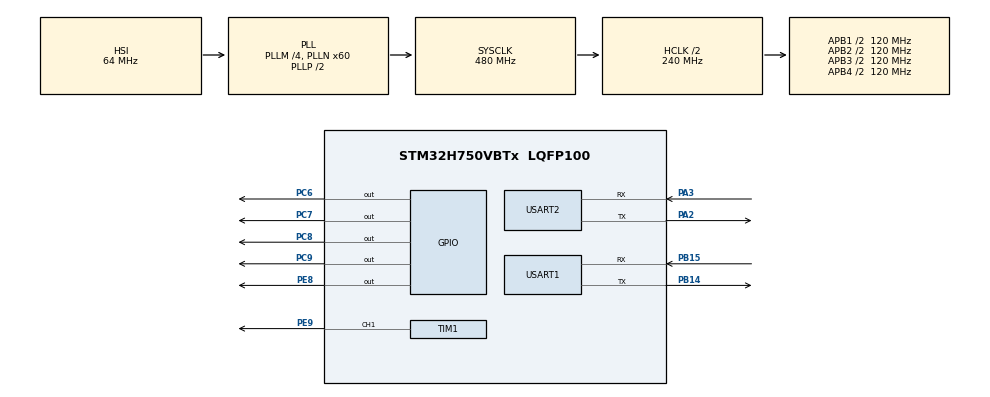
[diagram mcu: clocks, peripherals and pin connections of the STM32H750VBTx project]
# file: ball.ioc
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CORTEX_M7.default_mode_Activation=1
Dma.Request0=USART1_RX
Dma.Request1=USART2_RX
Dma.USART1_RX.0.Direction=DMA_PERIPH_TO_MEMORY
Dma.USART1_RX.0.EventEnable=DISABLE
Dma.USART1_RX.0.FIFOMode=DMA_FIFOMODE_DISABLE
Dma.USART1_RX.0.Instance=DMA1_Stream0
Dma.USART1_RX.0.MemDataAlignment=DMA_MDATAALIGN_BYTE
Dma.USART1_RX.0.MemInc=DMA_MINC_ENABLE
Dma.USART1_RX.0.Mode=DMA_CIRCULAR
Dma.USART1_RX.0.PeriphDataAlignment=DMA_PDATAALIGN_BYTE
Dma.USART1_RX.0.PeriphInc=DMA_PINC_DISABLE
Dma.USART1_RX.0.Polarity=HAL_DMAMUX_REQ_GEN_RISING
Dma.USART1_RX.0.Priority=DMA_PRIORITY_LOW
Dma.USART1_RX.0.RequestNumber=1
Dma.USART1_RX.0.SignalID=NONE
Dma.USART1_RX.0.SyncEnable=DISABLE
Dma.USART1_RX.0.SyncPolarity=HAL_DMAMUX_SYNC_NO_EVENT
Dma.USART1_RX.0.SyncRequestNumber=1
Dma.USART1_RX.0.SyncSignalID=NONE
Dma.USART2_RX.1.Direction=DMA_PERIPH_TO_MEMORY
Dma.USART2_RX.1.EventEnable=DISABLE
Dma.USART2_RX.1.FIFOMode=DMA_FIFOMODE_DISABLE
Dma.USART2_RX.1.Instance=DMA1_Stream1
Dma.USART2_RX.1.MemDataAlignment=DMA_MDATAALIGN_BYTE
Dma.USART2_RX.1.MemInc=DMA_MINC_ENABLE
Dma.USART2_RX.1.Mode=DMA_CIRCULAR
Dma.USART2_RX.1.PeriphDataAlignment=DMA_PDATAALIGN_BYTE
Dma.USART2_RX.1.PeriphInc=DMA_PINC_DISABLE
Dma.USART2_RX.1.Polarity=HAL_DMAMUX_REQ_GEN_RISING
Dma.USART2_RX.1.Priority=DMA_PRIORITY_LOW
Dma.USART2_RX.1.RequestNumber=1
Dma.USART2_RX.1.SignalID=NONE
Dma.USART2_RX.1.SyncEnable=DISABLE
Dma.USART2_RX.1.SyncPolarity=HAL_DMAMUX_SYNC_NO_EVENT
Dma.USART2_RX.1.SyncRequestNumber=1
Dma.USART2_RX.1.SyncSignalID=NONE
Mcu.Family=STM32H7
Mcu.Name=STM32H750VBTx
Mcu.Package=LQFP100
NVIC.DMA1_Stream0_IRQn=true\:0\:0\:false\:false\:true\:false\:true\:true
NVIC.DMA1_Stream1_IRQn=true\:0\:0\:false\:false\:true\:false\:true\:true
NVIC.PriorityGroup=NVIC_PRIORITYGROUP_4
PA13\ (JTMS/SWDIO).Mode=Serial_Wire
PA13\ (JTMS/SWDIO).Signal=DEBUG_JTMS-SWDIO
PA14\ (JTCK/SWCLK).Mode=Serial_Wire
PA14\ (JTCK/SWCLK).Signal=DEBUG_JTCK-SWCLK
PA2.Mode=Asynchronous
PA2.Signal=USART2_TX
PA3.Mode=Asynchronous
PA3.Signal=USART2_RX
PB14.Mode=Asynchronous
PB14.Signal=USART1_TX
PB15.Mode=Asynchronous
PB15.Signal=USART1_RX
PC6.Signal=GPIO_Output
PC7.Signal=GPIO_Output
PC8.Signal=GPIO_Output
PC9.Signal=GPIO_Output
PE8.Signal=GPIO_Output
PE9.Signal=S_TIM1_CH1
ProjectManager.HeapSize=0x200
ProjectManager.StackSize=0x400
ProjectManager.TargetToolchain=MDK-ARM V5.32
RCC.ADCFreq_Value=129000000
RCC.APB1Freq_Value=120000000
RCC.APB2Freq_Value=120000000
RCC.APB3Freq_Value=120000000
RCC.APB4Freq_Value=120000000
RCC.CortexFreq_Value=480000000
RCC.D1PPRE=RCC_APB3_DIV2
RCC.D2PPRE1=RCC_APB1_DIV2
RCC.D2PPRE2=RCC_APB2_DIV2
RCC.D3PPRE=RCC_APB4_DIV2
RCC.DIVM1=4
RCC.DIVN1=60
RCC.HCLKFreq_Value=240000000
RCC.HPRE=RCC_HCLK_DIV2
RCC.PLL2FRACN=0
RCC.PLL3FRACN=0
RCC.PLLFRACN=0
RCC.SYSCLKFreq_VALUE=480000000
RCC.SYSCLKSource=RCC_SYSCLKSOURCE_PLLCLK
RCC.USBFreq_Value=480000000
SH.S_TIM1_CH1.0=TIM1_CH1,PWM Generation1 CH1
TIM1.AutoReloadPreload=TIM_AUTORELOAD_PRELOAD_ENABLE
TIM1.Channel-PWM\ Generation1\ CH1=TIM_CHANNEL_1
TIM1.Period=20000-1
TIM1.Prescaler=240-1
TIM1.Pulse-PWM\ Generation1\ CH1=1500
USART1.VirtualMode-Asynchronous=VM_ASYNC
USART2.VirtualMode-Asynchronous=VM_ASYNC
VP_MEMORYMAP_VS_MEMORYMAP.Mode=CurAppReg
VP_TIM1_VS_ClockSourceINT.Mode=Internal
board=custom

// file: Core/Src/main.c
/* USER CODE BEGIN Header */
/**
 ******************************************************************************
 * @file           : main.c
 * @brief          : Main program body
 ******************************************************************************
 * @attention
 *
 * Copyright (c) 2025 STMicroelectronics.
 * All rights reserved.
 *
 * This software is licensed under terms that can be found in the LICENSE file
 * in the root directory of this software component.
 * If no LICENSE file comes with this software, it is provided AS-IS.
 *
 ******************************************************************************
 */
/* USER CODE END Header */
#include "main.h"
#include "dma.h"
#include "memorymap.h"
#include "tim.h"
#include "usart.h"
#include "gpio.h"

/* USER CODE BEGIN Includes */
#include "pid.h"
#include "engine.h"
#include "filter.h"
#include "laser.h"
#include "motor.h"
#include "motor_control.h"

/* USER CODE END Includes */

/* USER CODE BEGIN PV */
volatile int compare = 1000;
uint8_t rxbuffer[7];
float lenth = 0;        // 当前位置
float speed = 0;        // 当前速度
float target_speed = 0; // 目标速度
float target_lenth = 0; // 目标位置
volatile int control_output = 0;
volatile float filter_alpha = 0.800000006;
int speed_limit = 10;
int speed_before = 0;

uint16_t rx_head = 0;
uint16_t rx_tail = 0;

PID_Controller_t position_pid; // 位置环
PID_Controller_t speed_pid;    // 速度环
float i = 1.5;
MOTOR_send cmd;
MOTOR_recv data;
/* USER CODE END PV */

void SystemClock_Config(void);
static void MPU_Config(void);
/* USER CODE BEGIN PFP */

// 数据帧处理函数
int process_frame(uint8_t *rxbuffer)
{
  if (rxbuffer[0] == 0x01 && rxbuffer[1] == 0x03 && rxbuffer[2] == 0x02)
  {
    uint16_t data = (rxbuffer[3] << 8) | rxbuffer[4];
    if (data <= 2000)
    {
      return data;
    }
    else
    {
      return -1;
    }
  }
  return -1;
}

/* USER CODE END PFP */

/* USER CODE BEGIN 0 */
int flag = 0;
/* USER CODE END 0 */

int main(void)
{

  /* MPU Configuration--------------------------------------------------------*/
  MPU_Config();

  /* MCU Configuration--------------------------------------------------------*/

  /* Reset of all peripherals, Initializes the Flash interface and the Systick. */
  HAL_Init();

  /* Configure the system clock */
  SystemClock_Config();

  /* USER CODE BEGIN SysInit */
  pid_init(&position_pid, 0.5, 0, 0);
  pid_init(&speed_pid, 50, 0, 300);
  SERVO_Send_recv(&cmd, &data);
  /* USER CODE END SysInit */

  /* Initialize all configured peripherals */
  MX_GPIO_Init();
  MX_DMA_Init();
  MX_TIM1_Init();
  MX_USART1_UART_Init();
  MX_USART2_UART_Init();
  /* USER CODE BEGIN 2 */
  HAL_TIM_PWM_Start(&htim1, TIM_CHANNEL_1);

  HAL_GPIO_WritePin(GPIOE, GPIO_PIN_8, GPIO_PIN_SET);

  UART_Start_Receive_DMA(&huart1, rxbuffer, 7);

  /* USER CODE END 2 */

  /* Infinite loop */
  /* USER CODE BEGIN WHILE */
  while (1)
  {

    lenth = laser_processframe(rxbuffer) / 1000.0; // 当前位置

    if (flag == 1)
    {
      target_speed = -PID_Cal(&speed_pid, lenth, target_lenth);
      // control_output = PID_Controller(&position_pid, target_speed, speed);

      /* USER CODE END WHILE */

      /* USER CODE BEGIN 3 */
      // target_speed = lowpass_filter(target_speed, filter_alpha);
      if (fabs(target_speed - speed_before) > speed_limit)
      {
        speed_before += speed_limit;
      }
      engine_setangle(target_speed * i);
      speed_before = speed;
      flag = 0;
    }
    __HAL_TIM_SetCompare(&htim1, TIM_CHANNEL_1, control_output);
  }
  /* USER CODE END 3 */
}

void SystemClock_Config(void)
{
  RCC_OscInitTypeDef RCC_OscInitStruct = {0};
  RCC_ClkInitTypeDef RCC_ClkInitStruct = {0};

  /** Supply configuration update enable
   */
  HAL_PWREx_ConfigSupply(PWR_LDO_SUPPLY);

  /** Configure the main internal regulator output voltage
   */
  __HAL_PWR_VOLTAGESCALING_CONFIG(PWR_REGULATOR_VOLTAGE_SCALE0);

  while (!__HAL_PWR_GET_FLAG(PWR_FLAG_VOSRDY))
  {
  }

  /** Initializes the RCC Oscillators according to the specified parameters
   * in the RCC_OscInitTypeDef structure.
   */
  RCC_OscInitStruct.OscillatorType = RCC_OSCILLATORTYPE_HSI;
  RCC_OscInitStruct.HSIState = RCC_HSI_DIV1;
  RCC_OscInitStruct.HSICalibrationValue = RCC_HSICALIBRATION_DEFAULT;
  RCC_OscInitStruct.PLL.PLLState = RCC_PLL_ON;
  RCC_OscInitStruct.PLL.PLLSource = RCC_PLLSOURCE_HSI;
  RCC_OscInitStruct.PLL.PLLM = 4;
  RCC_OscInitStruct.PLL.PLLN = 60;
  RCC_OscInitStruct.PLL.PLLP = 2;
  RCC_OscInitStruct.PLL.PLLQ = 2;
  RCC_OscInitStruct.PLL.PLLR = 2;
  RCC_OscInitStruct.PLL.PLLRGE = RCC_PLL1VCIRANGE_3;
  RCC_OscInitStruct.PLL.PLLVCOSEL = RCC_PLL1VCOWIDE;
  RCC_OscInitStruct.PLL.PLLFRACN = 0;
  if (HAL_RCC_OscConfig(&RCC_OscInitStruct) != HAL_OK)
  {
    Error_Handler();
  }

  /** Initializes the CPU, AHB and APB buses clocks
   */
  RCC_ClkInitStruct.ClockType = RCC_CLOCKTYPE_HCLK | RCC_CLOCKTYPE_SYSCLK | RCC_CLOCKTYPE_PCLK1 | RCC_CLOCKTYPE_PCLK2 | RCC_CLOCKTYPE_D3PCLK1 | RCC_CLOCKTYPE_D1PCLK1;
  RCC_ClkInitStruct.SYSCLKSource = RCC_SYSCLKSOURCE_PLLCLK;
  RCC_ClkInitStruct.SYSCLKDivider = RCC_SYSCLK_DIV1;
  RCC_ClkInitStruct.AHBCLKDivider = RCC_HCLK_DIV2;
  RCC_ClkInitStruct.APB3CLKDivider = RCC_APB3_DIV2;
  RCC_ClkInitStruct.APB1CLKDivider = RCC_APB1_DIV2;
  RCC_ClkInitStruct.APB2CLKDivider = RCC_APB2_DIV2;
  RCC_ClkInitStruct.APB4CLKDivider = RCC_APB4_DIV2;

  if (HAL_RCC_ClockConfig(&RCC_ClkInitStruct, FLASH_LATENCY_4) != HAL_OK)
  {
    Error_Handler();
  }
}

/* MPU Configuration */

void MPU_Config(void)
{
  MPU_Region_InitTypeDef MPU_InitStruct = {0};

  /* Disables the MPU */
  HAL_MPU_Disable();

  /** Initializes and configures the Region and the memory to be protected
   */
  MPU_InitStruct.Enable = MPU_REGION_ENABLE;
  MPU_InitStruct.Number = MPU_REGION_NUMBER0;
  MPU_InitStruct.BaseAddress = 0x0;
  MPU_InitStruct.Size = MPU_REGION_SIZE_4GB;
  MPU_InitStruct.SubRegionDisable = 0x87;
  MPU_InitStruct.TypeExtField = MPU_TEX_LEVEL0;
  MPU_InitStruct.AccessPermission = MPU_REGION_NO_ACCESS;
  MPU_InitStruct.DisableExec = MPU_INSTRUCTION_ACCESS_DISABLE;
  MPU_InitStruct.IsShareable = MPU_ACCESS_SHAREABLE;
  MPU_InitStruct.IsCacheable = MPU_ACCESS_NOT_CACHEABLE;
  MPU_InitStruct.IsBufferable = MPU_ACCESS_NOT_BUFFERABLE;

  HAL_MPU_ConfigRegion(&MPU_InitStruct);
  /* Enables the MPU */
  HAL_MPU_Enable(MPU_PRIVILEGED_DEFAULT);
}

void Error_Handler(void)
{
  __disable_irq();
  while (1)
  {
  }
}
